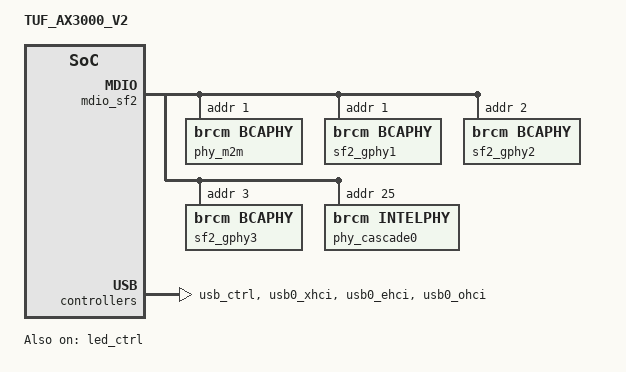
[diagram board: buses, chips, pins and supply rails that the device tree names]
#include "6756.dtsi"

/ {
	model="TUF_AX3000_V2";

	memory_controller {
		memcfg = <(BP_DDR_SPEED_933_13_13_13 | \
			BP_DDR_TOTAL_SIZE_512MB    | \
			BP_DDR_DEVICE_WIDTH_16     | \
			BP_DDR_TOTAL_WIDTH_16BIT   | \
			BP_DDR_6756_DEFAULT)>;
	};
#if 0
	buttons {
		compatible = "brcm,buttons";
		reset_button {
			ext_irq = <&bca_extintr 9 BCA_GPIO_ACTIVE_LOW (BCA_EXTINTR_TYPE_LOW_LEVEL | BCA_EXTINTR_TYPE_SENSE_EDGE)>;
			press {
				print = "Button Press -- Hold for 5s to do restore to default";
			};
			hold {
				rst_to_dflt = <5>;
			};
			release {
				reset = <0>;
			};	
		};
		ses_button {
			ext_irq = <&bca_extintr 4 BCA_GPIO_ACTIVE_LOW (BCA_EXTINTR_TYPE_LOW_LEVEL | BCA_EXTINTR_TYPE_SENSE_EDGE)>;
			release {
				ses_short_period = <0>;
				ses_long_period = <3>;
			};
		};	
	};
#endif
    switch_sf2_ext:0 {
    };
};

&sysport {
    ethsw_ext = <&switch_sf2_ext>;
};

&mdio_sf2 {
	phy_ge:8 {
		status = "okay";
	};

	phy_m2m:m2m {
		compatible = "brcm,bcaphy";
		phy-type = "MAC2MAC";
		reg = <1>;
		status = "okay";
		phy-extswitch;
	};

	/* PHYs on external SF2 switch */
	sf2_gphy1:1 {
		compatible = "brcm,bcaphy";
		phy-type = "EGPHY";
		reg = <1>;
		status = "okay";
	};
	sf2_gphy2:2 {
		compatible = "brcm,bcaphy";
		phy-type = "EGPHY";
		reg = <2>;
		status = "okay";
	};
	sf2_gphy3:3 {
		compatible = "brcm,bcaphy";
		phy-type = "EGPHY";
		reg = <3>;
		status = "okay";
	};

	phy_cascade0:cascade0 {
		compatible = "brcm,intelphy";
		phy-type = "GPY211";
		reg = <25>;
		status = "okay";
		phy-external;
	};

	/* serdes0 (SGMII-0) : port map ID 5*/
	phy_serdes0:serdes0 {
		phy-handle = <&phy_cascade0>;
		status = "okay";
	};
};


&switch_sf2_ext {                       /* linux: external sf2 */
	unit = <1>;
	sw-type = "SF2_SW";

    compatible = "brcm,bcmbca-extsw";
    reg-names ="parent-rgmii-ctrl",
               "parent-gpio-pad-ctrl";
    reg = <0x804800ec 0x44>,
          <0xff800500 0x78>;
    switch-reset = <&gpioc 10 GPIO_ACTIVE_LOW>;

	ports {
		#address-cells = <1>;
		#size-cells = <0>;

		sf2_port1@1 {
			phy-handle = <&sf2_gphy1>;
			reg = <1>;
			mac-type = "SF2MAC";
			phy-mode = "gmii";
			gmii-direct;
			status = "okay";
			label = "eth1";
		};
		sf2_port2@2 {
			phy-handle = <&sf2_gphy2>;
			reg = <2>;
			mac-type = "SF2MAC";
			phy-mode = "gmii";
			gmii-direct;
			status = "okay";
			label = "eth2";
		};
		sf2_port3@3 {
			phy-handle = <&sf2_gphy3>;
			reg = <3>;
			mac-type = "SF2MAC";
			phy-mode = "gmii";
			gmii-direct;
			status = "okay";
			label = "eth3";
		};
		sf2_port8@8 {
			management;                     /* sf2_ext.p8 <--> root.p1 */
			reg = <8>;
			mac-type = "SF2MAC";
			shrink-ipg;
			phy-mode = "gmii";
			gmii-direct;
			status = "okay";
			label = "eth0";
		};
	};
};

&switch0 {
    pinctrl-names = "default", "rgmii";
    pinctrl-0 = <&a_rgmii_mdc_pin_68 &a_rgmii_mdio_pin_69 &rgmii_pins>;
    pinctrl-1 = <&rgmii_pins>;
 
	ports {
		port0@0 {
            phy-handle = <&phy_ge>;
			status = "okay";
			network-leds = <&led0>;
			label = "eth1";
		};
		port1@1 {
			phy-handle = <&phy_m2m>;
			mii-pinctrl-state = "rgmii";
			phy-mode = "rgmii";
			rgmii-3p3v;
			rx-delay;
			tx-delay;
			link = <&switch_sf2_ext>;           /* root.p1 <--> sf2_ext.p8 */
			shrink-ipg;
			status = "okay";
		};
		port5@5 {
			phy-handle = <&phy_serdes0>;
			status = "okay";
			label = "eth0";
		};
	};
};

&legacy_leds {
    wl0-led = <&led5>;
    wl1-led = <&led6>;
};

&led_ctrl {
    status="okay";

    /* GPIO_18: 1G_WAN */
    led0:port_0-led-1 {
        active_low;
        link = <LED_SPEED_GBE>;
        activity = <LED_SPEED_GBE>;
        pinctrl-0=<&a_per_led_18_pin_18>;
        status = "okay";
    };

    /* GPIO_18: 1G_WAN_GPIO */
    led1:led_gpio_18 {
        compatible = "brcm,gpio-led";
        software_led;
        pin = <18>;
        active_low;
    };

    /* GPIO_23: 2.5G_WAN */
/*
    led2:port_5-led-0 {
        active_low;
        link = <(LED_SPEED_100|LED_SPEED_1G|LED_SPEED_2500)>;
        activity = <(LED_SPEED_100|LED_SPEED_1G|LED_SPEED_2500)>;
        pinctrl-0=<&a_per_led_23_pin_23>;
        status = "okay";
    };
*/
    /* 2.5G LED GPIO mode */
/*
    led23:led_gpio_23 {
        compatible = "brcm,gpio-led";
        software_led;
        pin = <23>;
        active_low;
        init_high;
    };
*/
    /* GPIO_31: INET_PRO_LED */
    led3:led_gpio_31 {
        compatible = "brcm,gpio-led";
        software_led;
        pin = <31>;
        active_low;
        init_high;
    };

    /* GPIO_17: POWER */
    led4:led_gpio_17 {
        compatible = "brcm,gpio-led";
        software_led;
        pin = <17>;
	init_high;
    };

    /* GPIO_24: WIFI_2G */
    led5:led_gpio_24 {
        compatible = "brcm,gpio-led";
        software_led;
        pin = <24>;
        active_low;
        init_high;
    };

    /* GPIO_25: WIFI_5G */
    led6:led_gpio_25 {
        compatible = "brcm,gpio-led";
        software_led;
        pin = <25>;
        active_low;
        init_high;
    };

    /* USB Power */
    led7:led_gpio_80 {
        compatible = "brcm,gpio-led";
        software_led;
        pin = <80>;
        active_high;
        init_low;
    };
};

&usb_ctrl {
	pinctrl-names="default";
	pinctrl-0 = <&usb0_pwr_pins>;
	pwron-bias-pull-up;
	status = "okay";
	xhci-enable;
};

&usb0_xhci {
	status = "okay";
};

&usb0_ehci {
	status = "okay";
};

&usb0_ohci {
	status = "okay";
};
                

